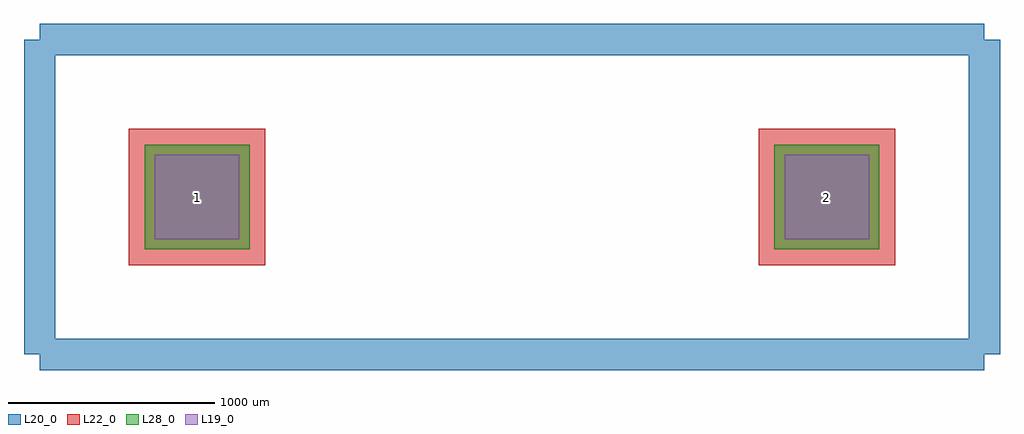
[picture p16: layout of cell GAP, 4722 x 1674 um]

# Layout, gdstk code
import gdstk
lib = gdstk.Library(unit=1e-6, precision=1e-09)
def R(c, l, rs):  # rectangles x0, y0, x1, y1
    for r in rs: c.add(gdstk.rectangle(r[:2], r[2:], *l))
L19_0 = (19, 0)
L20_0 = (20, 0)
L22_0 = (22, 0)
L28_0 = (28, 0)

gap = lib.new_cell('GAP')
R(gap, L19_0, [(-1728,-204,-1320,204), (1320,-204,1728,204)])
R(gap, L22_0, [(-1853,-329,-1195,329), (1195,-329,1853,329)])
R(gap, L28_0, [(-1778,-254,-1270,254), (1270,-254,1778,254)])
gap.add(gdstk.FlexPath([(-2286,-762),(-2286,762)], 149.998, ends="flush", simple_path=True, layer=20, datatype=0))  # L20_0
gap.add(gdstk.FlexPath([(2286,-762),(-2286,-762)], 149.998, ends="flush", simple_path=True, layer=20, datatype=0))  # L20_0
gap.add(gdstk.FlexPath([(2286,762),(2286,-762)], 149.998, ends="flush", simple_path=True, layer=20, datatype=0))  # L20_0
gap.add(gdstk.FlexPath([(-2286,762),(2286,762)], 149.998, ends="flush", simple_path=True, layer=20, datatype=0))  # L20_0
gap.add(gdstk.Label('2', (1524,0), layer=28, texttype=0))
gap.add(gdstk.Label('1', (-1524,0), layer=28, texttype=0))
gap.add(gdstk.Label('type', (254,-1270), layer=9, texttype=0))
gap.add(gdstk.Label('devicename', (0,1270), layer=9, texttype=0))

lib.write_gds('GAP.gds')
